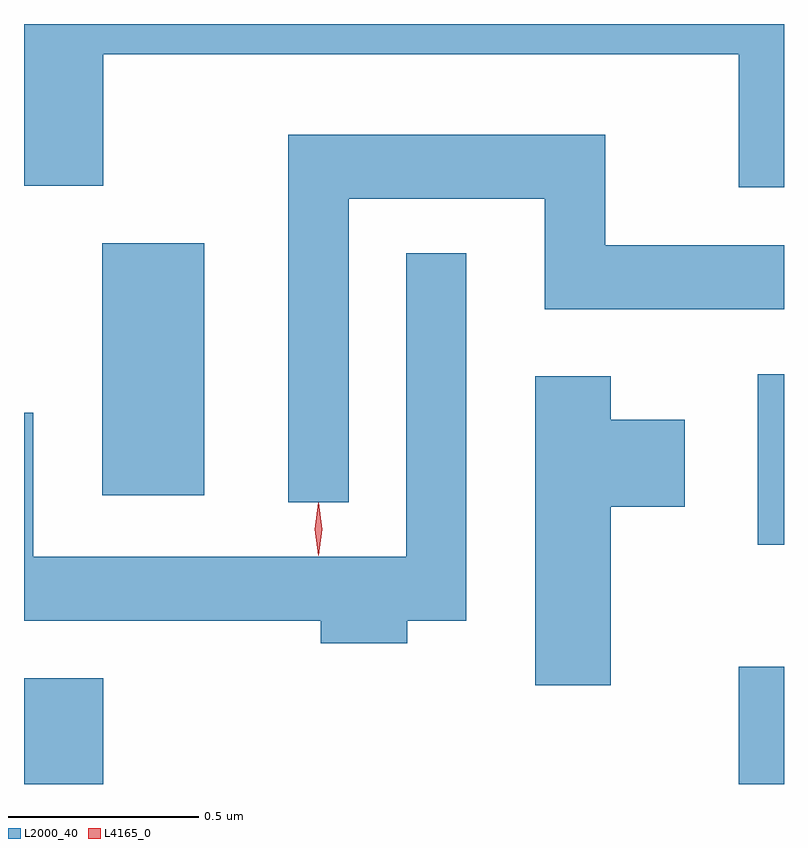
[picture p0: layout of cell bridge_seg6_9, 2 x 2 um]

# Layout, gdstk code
import gdstk
lib = gdstk.Library(unit=1e-6, precision=1e-09)
def R(c, l, rs):  # rectangles x0, y0, x1, y1
    for r in rs: c.add(gdstk.rectangle(r[:2], r[2:], *l))
def P(c, l, *ps):  # polygons
    for p in ps: c.add(gdstk.Polygon(p, *l))
L2000_40 = (2000, 40)
L4165_0 = (4165, 0)

bridge_seg6_9 = lib.new_cell('bridge_seg6_9')
R(bridge_seg6_9, L2000_40, [(1433.84,1654.676,1434.049,1654.954), (1435.721,1654.676,1435.84,1654.984), (1435.771,1655.306,1435.84,1655.754), (1434.046,1655.436,1434.314,1656.099)])
P(bridge_seg6_9, L2000_40, [(1435.84,1656.676),(1433.84,1656.676),(1433.84,1656.251),(1434.049,1656.251),(1434.049,1656.596),(1435.721,1656.596),(1435.721,1656.246),(1435.84,1656.246)],
  [(1434.694,1656.216),(1435.211,1656.216),(1435.211,1655.926),(1435.84,1655.926),(1435.84,1656.094),(1435.369,1656.094),(1435.369,1656.384),(1434.536,1656.384),(1434.536,1655.418),(1434.694,1655.418)],
  [(1434.849,1655.106),(1435.004,1655.106),(1435.004,1656.073),(1434.846,1656.073),(1434.846,1655.274),(1433.864,1655.274),(1433.864,1655.653),(1433.84,1655.653),(1433.84,1655.106),(1434.621,1655.106),(1434.621,1655.046),(1434.849,1655.046)],
  [(1435.384,1655.406),(1435.579,1655.406),(1435.579,1655.634),(1435.384,1655.634),(1435.384,1655.749),(1435.186,1655.749),(1435.186,1654.936),(1435.384,1654.936)])
P(bridge_seg6_9, L4165_0, [(1434.615,1655.277),(1434.614,1655.278),(1434.605,1655.346),(1434.614,1655.416),(1434.615,1655.416),(1434.616,1655.416),(1434.625,1655.346),(1434.616,1655.278)],
  [(1434.615,1655.279),(1434.614,1655.28),(1434.605,1655.346),(1434.614,1655.412),(1434.615,1655.413),(1434.615,1655.412),(1434.625,1655.346),(1434.615,1655.28)])

lib.write_gds('bridge_seg6_9.gds')
